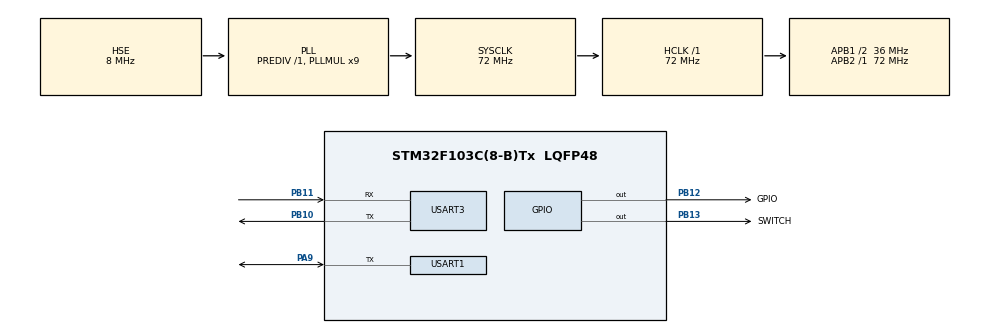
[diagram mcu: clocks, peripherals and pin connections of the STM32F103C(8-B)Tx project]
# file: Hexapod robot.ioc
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Mcu.Family=STM32F1
Mcu.Name=STM32F103C(8-B)Tx
Mcu.Package=LQFP48
NVIC.PriorityGroup=NVIC_PRIORITYGROUP_4
NVIC.USART3_IRQn=true\:0\:0\:false\:false\:true\:true\:true\:true
PA13.Mode=Serial_Wire
PA13.Signal=SYS_JTMS-SWDIO
PA14.Mode=Serial_Wire
PA14.Signal=SYS_JTCK-SWCLK
PA9.Mode=Half_duplex(single_wire_mode)
PA9.Signal=USART1_TX
PB10.Mode=Asynchronous
PB10.Signal=USART3_TX
PB11.Mode=Asynchronous
PB11.Signal=USART3_RX
PB12.GPIO_Label=GPIO
PB12.Signal=GPIO_Output
PB13.GPIO_Label=SWITCH
PB13.Signal=GPIO_Output
PC14-OSC32_IN.Mode=LSE-External-Oscillator
PC14-OSC32_IN.Signal=RCC_OSC32_IN
PC15-OSC32_OUT.Mode=LSE-External-Oscillator
PC15-OSC32_OUT.Signal=RCC_OSC32_OUT
PD0-OSC_IN.Mode=HSE-External-Oscillator
PD0-OSC_IN.Signal=RCC_OSC_IN
PD1-OSC_OUT.Mode=HSE-External-Oscillator
PD1-OSC_OUT.Signal=RCC_OSC_OUT
ProjectManager.HeapSize=0x200
ProjectManager.StackSize=0x400
ProjectManager.TargetToolchain=STM32CubeIDE
RCC.AHBFreq_Value=72000000
RCC.APB1CLKDivider=RCC_HCLK_DIV2
RCC.APB1Freq_Value=36000000
RCC.APB1TimFreq_Value=72000000
RCC.APB2Freq_Value=72000000
RCC.APB2TimFreq_Value=72000000
RCC.HCLKFreq_Value=72000000
RCC.PLLMUL=RCC_PLL_MUL9
RCC.PLLSourceVirtual=RCC_PLLSOURCE_HSE
RCC.SYSCLKFreq_VALUE=72000000
RCC.SYSCLKSource=RCC_SYSCLKSOURCE_PLLCLK
RCC.USBFreq_Value=72000000
USART1.VirtualMode=VM_ASYNC
USART3.VirtualMode=VM_ASYNC
board=custom

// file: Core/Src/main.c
/* USER CODE BEGIN Header */
/**
  ******************************************************************************
  * @file           : main.c
  * @brief          : Main program body
  ******************************************************************************
  * @attention
  *
  * Copyright (c) 2023 STMicroelectronics.
  * All rights reserved.
  *
  * This software is licensed under terms that can be found in the LICENSE file
  * in the root directory of this software component.
  * If no LICENSE file comes with this software, it is provided AS-IS.
  *
  ******************************************************************************
  */
/* USER CODE END Header */
#include "main.h"
#include "usart.h"
#include "gpio.h"

/* USER CODE BEGIN Includes */
#include "leg_inverse.h"
#include "servo.h"
#include "gait.h"
#include "weapon.h"
#include <stdio.h>
#include <string.h>
#include <stdlib.h>
#include <math.h>
#include <ctype.h> // For isdigit()
/* USER CODE END Includes */

/* USER CODE BEGIN PD */
#define SERVO_DE_PORT GPIOA
#define SERVO_DE_PIN  GPIO_PIN_8
#define RX_CMD_BUFFER_SIZE 64
/* USER CODE END PD */

/* USER CODE BEGIN PM */
#define CLAMP(value, min, max) ((value) < (min) ? (min) : ((value) > (max) ? (max) : (value)))
/* USER CODE END PM */

/* USER CODE BEGIN PV */
extern float leg_j1_angle, leg_j2_angle, leg_j3_angle;
static uint16_t servo1_angle, servo2_angle, servo3_angle, servo4_angle, servo5_angle, servo6_angle, servo7_angle, servo8_angle, servo9_angle, servo10_angle, servo11_angle, servo12_angle, servo13_angle, servo14_angle, servo15_angle, servo16_angle, servo17_angle, servo18_angle;

uint8_t rx_data;
uint8_t rx_cmd_buffer[RX_CMD_BUFFER_SIZE];
volatile uint16_t rx_cmd_index = 0;
volatile uint8_t g_command_ready = 0;
/* USER CODE END PV */

void SystemClock_Config(void);
/* USER CODE BEGIN PFP */
void Set_Single_Servo(uint8_t id, uint16_t angle);
void Set_Leg_Position(Leg_ID_t leg_id, float target_x, float target_y, float target_z);
void Set_All_Legs_Position(float target_x, float target_y, float target_z);
void Apply_All_Servo_Positions(uint16_t move_time);
void Process_Command(const char* cmd);
/* USER CODE END PFP */

/* USER CODE BEGIN 0 */

#ifdef __GNUC__
#define PUTCHAR_PROTOTYPE int __io_putchar(int ch)
#else
#define PUTCHAR_PROTOTYPE int fputc(int ch, FILE *f)
#endif

PUTCHAR_PROTOTYPE
{
    HAL_UART_Transmit(&huart3, (uint8_t *)&ch, 1, 0xFFFF);
    return ch;
}

void HAL_UART_RxCpltCallback(UART_HandleTypeDef *huart)
{
    if (huart->Instance == USART3)
    {
        if (g_command_ready == 0)
        {
            if (rx_data == '\r' || rx_data == '\n')
            {
                if (rx_cmd_index > 0)
                {
                    rx_cmd_buffer[rx_cmd_index] = '\0';
                    g_command_ready = 1;
                }
                rx_cmd_index = 0;
            }
            else
            {
                if (rx_cmd_index < RX_CMD_BUFFER_SIZE - 1)
                {
                    rx_cmd_buffer[rx_cmd_index++] = rx_data;
                }
            }
        }
        HAL_UART_Receive_IT(&huart3, &rx_data, 1);
    }
}

void Set_Single_Servo(uint8_t id, uint16_t angle)
{
    if (id == 1 || id == 2 || id == 4 || id == 5 || id == 8 || id == 10 || id == 11 || id == 13 || id == 14 || id == 16 || id == 17)
    {
        angle = 240 - angle;
    }
    switch (id)
    {
    case 1:  servo1_angle = angle; break;
    case 2:  servo2_angle = angle; break;
    case 3:  servo3_angle = angle; break;
    case 4:  servo4_angle = angle; break;
    case 5:  servo5_angle = angle; break;
    case 6:  servo6_angle = angle; break;
    case 7:  servo7_angle = angle; break;
    case 8:  servo8_angle = angle; break;
    case 9:  servo9_angle = angle; break;
    case 10: servo10_angle = angle; break;
    case 11: servo11_angle = angle; break;
    case 12: servo12_angle = angle; break;
    case 13: servo13_angle = angle; break;
    case 14: servo14_angle = angle; break;
    case 15: servo15_angle = angle; break;
    case 16: servo16_angle = angle; break;
    case 17: servo17_angle = angle; break;
    case 18: servo18_angle = angle; break;
    default: break;
    }
}

void Set_Leg_Position(Leg_ID_t leg_id, float target_x, float target_y, float target_z)
{
    uint8_t id1 = 0, id2 = 0, id3 = 0;
    bool is_inverted = false;

    switch (leg_id)
    {
    case LEG_LEFT_FRONT:   id1 = 1;  id2 = 2;  id3 = 3;  is_inverted = false; break;
    case LEG_LEFT_MIDDLE:  id1 = 4;  id2 = 5;  id3 = 6;  is_inverted = false; break;
    case LEG_LEFT_REAR:    id1 = 7;  id2 = 8;  id3 = 9;  is_inverted = false; break;
    case LEG_RIGHT_FRONT:  id1 = 10; id2 = 11; id3 = 12; is_inverted = true;  break;
    case LEG_RIGHT_MIDDLE: id1 = 13; id2 = 14; id3 = 15; is_inverted = true;  break;
    case LEG_RIGHT_REAR:   id1 = 16; id2 = 17; id3 = 18; is_inverted = true;  break;
    }

    if (leg_inverse_calculate(target_x, target_y, target_z))
    {
        if (is_inverted)
        {
            Set_Single_Servo(id1, (uint16_t)(120.0f - leg_j1_angle));
            Set_Single_Servo(id2, (uint16_t)(120.0f + leg_j2_angle));
            Set_Single_Servo(id3, (uint16_t)(120.0f + leg_j3_angle));
        }
        else
        {
            Set_Single_Servo(id1, (uint16_t)(120.0f + leg_j1_angle));
            Set_Single_Servo(id2, (uint16_t)(120.0f - leg_j2_angle));
            Set_Single_Servo(id3, (uint16_t)(120.0f - leg_j3_angle));
        }
    }
    else
    {
        printf("错误: 腿 %d 逆解失败, 目标点 (%.1f, %.1f, %.1f) 无法到达.\r\n", (int)leg_id + 1, target_x, target_y, target_z);
    }
}

void Apply_All_Servo_Positions(uint16_t move_time)
{
    Servo_Move(1,  (uint8_t)CLAMP(servo1_angle, 0, 240), move_time); HAL_Delay(5);
    Servo_Move(2,  (uint8_t)CLAMP(servo2_angle, 0, 240), move_time); HAL_Delay(5);
    Servo_Move(3,  (uint8_t)CLAMP(servo3_angle, 0, 240), move_time); HAL_Delay(5);
    Servo_Move(4,  (uint8_t)CLAMP(servo4_angle, 0, 240), move_time); HAL_Delay(5);
    Servo_Move(5,  (uint8_t)CLAMP(servo5_angle, 0, 240), move_time); HAL_Delay(5);
    Servo_Move(6,  (uint8_t)CLAMP(servo6_angle, 0, 240), move_time); HAL_Delay(5);
    Servo_Move(7,  (uint8_t)CLAMP(servo7_angle, 0, 240), move_time); HAL_Delay(5);
    Servo_Move(8,  (uint8_t)CLAMP(servo8_angle, 0, 240), move_time); HAL_Delay(5);
    Servo_Move(9,  (uint8_t)CLAMP(servo9_angle, 0, 240), move_time); HAL_Delay(5);
    Servo_Move(10, (uint8_t)CLAMP(servo10_angle, 0, 240), move_time); HAL_Delay(5);
    Servo_Move(11, (uint8_t)CLAMP(servo11_angle, 0, 240), move_time); HAL_Delay(5);
    Servo_Move(12, (uint8_t)CLAMP(servo12_angle, 0, 240), move_time); HAL_Delay(5);
    Servo_Move(13, (uint8_t)CLAMP(servo13_angle, 0, 240), move_time); HAL_Delay(5);
    Servo_Move(14, (uint8_t)CLAMP(servo14_angle, 0, 240), move_time); HAL_Delay(5);
    Servo_Move(15, (uint8_t)CLAMP(servo15_angle, 0, 240), move_time); HAL_Delay(5);
    Servo_Move(16, (uint8_t)CLAMP(servo16_angle, 0, 240), move_time); HAL_Delay(5);
    Servo_Move(17, (uint8_t)CLAMP(servo17_angle, 0, 240), move_time); HAL_Delay(5);
    Servo_Move(18, (uint8_t)CLAMP(servo18_angle, 0, 240), move_time); HAL_Delay(5);
}

void Process_Command(const char* cmd)
{
    char cmd_copy[RX_CMD_BUFFER_SIZE];
    strcpy(cmd_copy, cmd);

    char* main_cmd = strtok(cmd_copy, ":");
    if (main_cmd == NULL) {
        printf("错误: 空命令.\r\n");
        return;
    }

    // --- 步态命令解析 ---
    if (strcmp(main_cmd, "tripod") == 0 || strcmp(main_cmd, "wave") == 0 || strcmp(main_cmd, "ripple") == 0 || strcmp(main_cmd, "trot") == 0)
    {
        char* action = strtok(NULL, ":");
        if (action == NULL) {
            printf("错误: 命令 '%s' 缺少动作 (e.g., 'forward').\r\n", main_cmd);
            return;
        }

        char* steps_str = strtok(NULL, ":");
        uint8_t steps = (steps_str != NULL && atoi(steps_str) > 0) ? atoi(steps_str) : 1;

        printf("执行: %s 步态, 动作: %s, 步数: %d\r\n", main_cmd, action, steps);

        if (strcmp(main_cmd, "tripod") == 0) {
            if (strcmp(action, "forward") == 0)       Gait_Tripod_Forward(steps);
            else if (strcmp(action, "backward") == 0) Gait_Tripod_Backward(steps);
            else if (strcmp(action, "turn_left") == 0)  Gait_Tripod_TurnLeft(steps);
            else if (strcmp(action, "turn_right") == 0) Gait_Tripod_TurnRight(steps);
            else printf("错误: 'tripod' 步态不支持动作 '%s'.\r\n", action);
        }
        else if (strcmp(main_cmd, "wave") == 0) {
            if (strcmp(action, "forward") == 0)       Gait_Wave_Forward(steps);
            else if (strcmp(action, "backward") == 0)   Gait_Wave_Backward(steps);
            else if (strcmp(action, "turn_left") == 0)  Gait_Wave_TurnLeft(steps);
            else if (strcmp(action, "turn_right") == 0) Gait_Wave_TurnRight(steps);
            else printf("错误: 'wave' 步态不支持动作 '%s'.\r\n", action);
        }
        else if (strcmp(main_cmd, "ripple") == 0) {
            if (strcmp(action, "forward") == 0)       Gait_Ripple_Forward(steps);
            else if (strcmp(action, "backward") == 0) Gait_Ripple_Backward(steps);
            else printf("错误: 'ripple' 步态不支持动作 '%s'.\r\n", action);
        }
        else if (strcmp(main_cmd, "trot") == 0) {
            if (strcmp(action, "forward") == 0)       Gait_Trot_Forward(steps);
            else printf("错误: 'trot' 步态不支持动作 '%s'.\r\n", action);
        }
    }
    else if (strcmp(main_cmd, "stand") == 0)
    {
        printf("执行: 站立\r\n");
        Gait_Stand_Still();
    }

    // --- 新增：武器系统指令解析 ---
	else if (strcmp(main_cmd, "weapon") == 0)
	{
		char* action_cmd = strtok(NULL, ":");
		if (action_cmd == NULL)
		{
			printf("错误: 'weapon' 命令缺少动作 (例如: 'charge', 'fire', 'auto').\r\n");
			return;
		}

		if (strcmp(action_cmd, "charge") == 0)
		{
			Weapon_Control(WEAPON_ACTION_CHARGE);
		}
		else if (strcmp(action_cmd, "fire") == 0)
		{
			Weapon_Control(WEAPON_ACTION_FIRE);
		}
		else if (strcmp(action_cmd, "auto") == 0) // <--- 新增的解析分支
		{
			Weapon_Control(WEAPON_ACTION_AUTO);
		}
		else
		{
			printf("错误: 未知的武器动作 '%s'.\r\n", action_cmd);
		}
	}

    else if (main_cmd[0] == 'c')
    {
        char* action_cmd = strtok(NULL, ":");
        if (action_cmd == NULL)
        {
            printf("错误: 调试命令缺少动作部分 (例如: 'set_point', 'forward').\r\n");
            return;
        }

        if (strcmp(action_cmd, "set_point") == 0)
        {
            char* x_str = strtok(NULL, ":");
            char* y_str = strtok(NULL, ":");
            char* z_str = strtok(NULL, ":");
            char* time_str = strtok(NULL, ":");

            if (x_str == NULL || y_str == NULL || z_str == NULL || time_str == NULL)
            {
                printf("错误: set_point 命令缺少参数. 格式: c[腿号...]:set_point:x:y:z:time\r\n");
                return;
            }
            float x = atof(x_str);
            float y = atof(y_str);
            float z = atof(z_str);
            uint16_t time = atoi(time_str);

            printf("执行: 腿 [%s] 设置坐标点 (%.1f, %.1f, %.1f) 时间 %dms\r\n", main_cmd, x, y, z, time);

            for (int i = 1; main_cmd[i] != '\0'; i++)
            {
                if (isdigit((unsigned char)main_cmd[i]))
                {
                    int leg_num = main_cmd[i] - '0';
                    if (leg_num >= 1 && leg_num <= 6)
                    {
                        Leg_ID_t leg_id = (Leg_ID_t)(leg_num - 1);
                        Set_Leg_Position(leg_id, x, y, z);
                    }
                }
            }
            Apply_All_Servo_Positions(time);
        }
        else if (strcmp(action_cmd, "forward") == 0 || strcmp(action_cmd, "backward") == 0)
        {
            printf("执行: 腿 [%s] 顺序执行 '%s' 动作\r\n", main_cmd, action_cmd);
            for (int i = 1; main_cmd[i] != '\0'; i++)
            {
                if (isdigit((unsigned char)main_cmd[i]))
                {
                    int leg_num = main_cmd[i] - '0';
                    if (leg_num >= 1 && leg_num <= 6)
                    {
                        Leg_ID_t leg_id = (Leg_ID_t)(leg_num - 1);
                        if (strcmp(action_cmd, "forward") == 0)
                        {
                            Leg_Action_Forward(leg_id);
                        }
                        else
                        {
                            Leg_Action_Backward(leg_id);
                        }
                    }
                }
            }
        }
        else
        {
            printf("错误: 未知调试动作 '%s'.\r\n", action_cmd);
        }
    }
    else
    {
        printf("错误: 未知命令或步态 '%s'.\r\n", main_cmd);
    }
}

/* USER CODE END 0 */

int main(void)
{

  /* MCU Configuration--------------------------------------------------------*/

  /* Reset of all peripherals, Initializes the Flash interface and the Systick. */
  HAL_Init();

  /* Configure the system clock */
  SystemClock_Config();

  /* Initialize all configured peripherals */
  MX_GPIO_Init();
  MX_USART1_UART_Init();
  MX_USART3_UART_Init();
  /* USER CODE BEGIN 2 */

	Servo_Init(&huart1, SERVO_DE_PORT, SERVO_DE_PIN);
	HAL_Delay(100);
	Gait_Init();
	Gait_Stand_Still();

    Weapon_Init();//初始化电磁炮

	HAL_Delay(1000);

	HAL_UART_Receive_IT(&huart3, &rx_data, 1);

	printf("\r\n六足机器人控制器已就绪.\r\n");
	printf("--- 命令格式: gait_name:action[:steps] ---\r\n");
	printf("  stand\r\n");
	printf("  tripod:forward[:steps]\r\n");
	printf("  tripod:backward[:steps]\r\n");
	printf("  tripod:turn_left[:steps]\r\n");
	printf("  tripod:turn_right[:steps]\r\n");
	printf("  wave:forward[:steps]\r\n");
	printf("  wave:backward[:steps]\r\n");
	printf("  wave:turn_left[:steps]\r\n");
	printf("  wave:turn_right[:steps]\r\n");
	printf("  ripple:forward[:steps]\r\n");
	printf("  ripple:backward[:steps]\r\n");
	printf("  trot:forward[:steps]\r\n");

    // --- 新增：打印武器命令提示 ---
    printf("--- 武器系统命令 ---\r\n");
    printf("  weapon:charge  (充电2秒)\r\n");
    printf("  weapon:fire    (发射1秒)\r\n");

	printf("--- 调试命令 ---\r\n");
	printf("  c[腿号...]:set_point:x:y:z:time (同步)\r\n");
	printf("  c[腿号...]:[forward|backward] (顺序)\r\n");

  /* USER CODE END 2 */

  /* Infinite loop */
  while (1)
  {

    /* USER CODE BEGIN 3 */

	Weapon_Process(); // <--- 新增：非阻塞状态机处理，实时检查时间

    if (g_command_ready)
    {
        Process_Command((const char*)rx_cmd_buffer);

        memset(rx_cmd_buffer, 0, RX_CMD_BUFFER_SIZE);
        rx_cmd_index = 0;
        g_command_ready = 0;
    }
    HAL_Delay(10);
  }
  /* USER CODE END 3 */
}

void SystemClock_Config(void)
{
  RCC_OscInitTypeDef RCC_OscInitStruct = {0};
  RCC_ClkInitTypeDef RCC_ClkInitStruct = {0};

  /** Initializes the RCC Oscillators according to the specified parameters
  * in the RCC_OscInitTypeDef structure.
  */
  RCC_OscInitStruct.OscillatorType = RCC_OSCILLATORTYPE_HSE;
  RCC_OscInitStruct.HSEState = RCC_HSE_ON;
  RCC_OscInitStruct.HSEPredivValue = RCC_HSE_PREDIV_DIV1;
  RCC_OscInitStruct.HSIState = RCC_HSI_ON;
  RCC_OscInitStruct.PLL.PLLState = RCC_PLL_ON;
  RCC_OscInitStruct.PLL.PLLSource = RCC_PLLSOURCE_HSE;
  RCC_OscInitStruct.PLL.PLLMUL = RCC_PLL_MUL9;
  if (HAL_RCC_OscConfig(&RCC_OscInitStruct) != HAL_OK)
  {
    Error_Handler();
  }

  /** Initializes the CPU, AHB and APB buses clocks
  */
  RCC_ClkInitStruct.ClockType = RCC_CLOCKTYPE_HCLK|RCC_CLOCKTYPE_SYSCLK
                              |RCC_CLOCKTYPE_PCLK1|RCC_CLOCKTYPE_PCLK2;
  RCC_ClkInitStruct.SYSCLKSource = RCC_SYSCLKSOURCE_PLLCLK;
  RCC_ClkInitStruct.AHBCLKDivider = RCC_SYSCLK_DIV1;
  RCC_ClkInitStruct.APB1CLKDivider = RCC_HCLK_DIV2;
  RCC_ClkInitStruct.APB2CLKDivider = RCC_HCLK_DIV1;

  if (HAL_RCC_ClockConfig(&RCC_ClkInitStruct, FLASH_LATENCY_2) != HAL_OK)
  {
    Error_Handler();
  }
}

void Error_Handler(void)
{
  __disable_irq();
  while (1)
  {
  }
}
